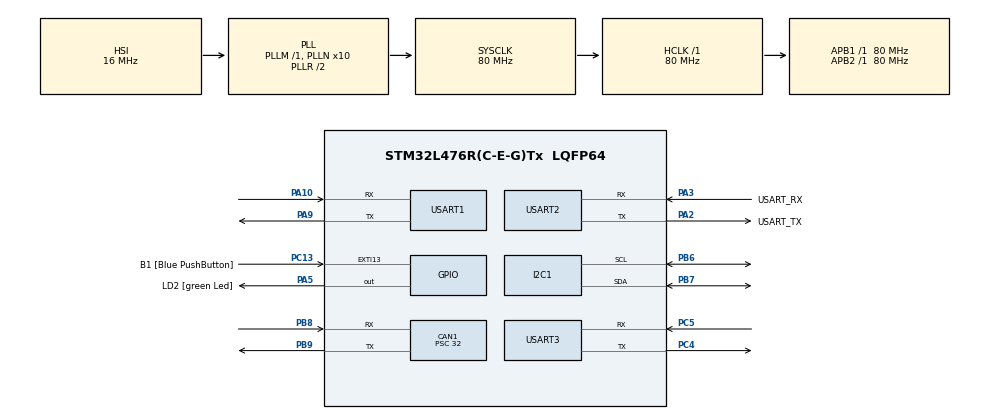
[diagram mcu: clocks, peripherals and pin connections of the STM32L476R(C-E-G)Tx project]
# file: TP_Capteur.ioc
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CAN1.BS1=CAN_BS1_3TQ
CAN1.CalculateBaudRate=500000
CAN1.CalculateTimeBit=2000.00
CAN1.CalculateTimeQuantum=400.0
CAN1.Prescaler=32
I2C1.Timing=0x10909CEC
Mcu.Family=STM32L4
Mcu.Name=STM32L476R(C-E-G)Tx
Mcu.Package=LQFP64
NVIC.PriorityGroup=NVIC_PRIORITYGROUP_4
NVIC.USART2_IRQn=true\:0\:0\:false\:false\:true\:true\:true
NVIC.USART3_IRQn=true\:0\:0\:false\:false\:true\:true\:true
PA10.Mode=Asynchronous
PA10.Signal=USART1_RX
PA13\ (JTMS-SWDIO).GPIO_Label=TMS
PA13\ (JTMS-SWDIO).Mode=Serial_Wire
PA13\ (JTMS-SWDIO).Signal=SYS_JTMS-SWDIO
PA14\ (JTCK-SWCLK).GPIO_Label=TCK
PA14\ (JTCK-SWCLK).Mode=Serial_Wire
PA14\ (JTCK-SWCLK).Signal=SYS_JTCK-SWCLK
PA2.GPIO_Label=USART_TX
PA2.GPIO_Mode=GPIO_MODE_AF_PP
PA2.GPIO_PuPd=GPIO_NOPULL
PA2.GPIO_Speed=GPIO_SPEED_FREQ_VERY_HIGH
PA2.Mode=Asynchronous
PA2.Signal=USART2_TX
PA3.GPIO_Label=USART_RX
PA3.GPIO_Mode=GPIO_MODE_AF_PP
PA3.GPIO_PuPd=GPIO_NOPULL
PA3.GPIO_Speed=GPIO_SPEED_FREQ_VERY_HIGH
PA3.Mode=Asynchronous
PA3.Signal=USART2_RX
PA5.GPIO_Label=LD2 [green Led]
PA5.GPIO_ModeDefaultOutputPP=GPIO_MODE_OUTPUT_PP
PA5.GPIO_PuPd=GPIO_NOPULL
PA5.GPIO_Speed=GPIO_SPEED_FREQ_LOW
PA5.Signal=GPIO_Output
PA9.Mode=Asynchronous
PA9.Signal=USART1_TX
PB3\ (JTDO-TRACESWO).GPIO_Label=SWO
PB3\ (JTDO-TRACESWO).Signal=SYS_JTDO-SWO
PB6.Mode=I2C
PB6.Signal=I2C1_SCL
PB7.Mode=I2C
PB7.Signal=I2C1_SDA
PB8.Mode=CAN_Activate
PB8.Signal=CAN1_RX
PB9.Mode=CAN_Activate
PB9.Signal=CAN1_TX
PC13.GPIO_Label=B1 [Blue PushButton]
PC13.GPIO_ModeDefaultEXTI=GPIO_MODE_IT_FALLING
PC13.GPIO_PuPd=GPIO_NOPULL
PC13.Signal=GPXTI13
PC14-OSC32_IN\ (PC14).Mode=LSE-External-Oscillator
PC14-OSC32_IN\ (PC14).Signal=RCC_OSC32_IN
PC15-OSC32_OUT\ (PC15).Mode=LSE-External-Oscillator
PC15-OSC32_OUT\ (PC15).Signal=RCC_OSC32_OUT
PC4.Mode=Asynchronous
PC4.Signal=USART3_TX
PC5.Mode=Asynchronous
PC5.Signal=USART3_RX
PH0-OSC_IN\ (PH0).Signal=RCC_OSC_IN
PH1-OSC_OUT\ (PH1).Signal=RCC_OSC_OUT
ProjectManager.HeapSize=0x200
ProjectManager.StackSize=0x400
ProjectManager.TargetToolchain=STM32CubeIDE
RCC.ADCFreq_Value=64000000
RCC.AHBFreq_Value=80000000
RCC.APB1Freq_Value=80000000
RCC.APB1TimFreq_Value=80000000
RCC.APB2Freq_Value=80000000
RCC.APB2TimFreq_Value=80000000
RCC.CortexFreq_Value=80000000
RCC.HCLKFreq_Value=80000000
RCC.HSE_VALUE=8000000
RCC.HSI_VALUE=16000000
RCC.MSI_VALUE=4000000
RCC.PLLN=10
RCC.PLLSourceVirtual=RCC_PLLSOURCE_HSI
RCC.PREFETCH_ENABLE=1
RCC.SYSCLKFreq_VALUE=80000000
RCC.SYSCLKSource=RCC_SYSCLKSOURCE_PLLCLK
RCC.USBFreq_Value=64000000
RCC.VCOOutputFreq_Value=160000000
USART1.VirtualMode-Asynchronous=VM_ASYNC
USART2.VirtualMode-Asynchronous=VM_ASYNC
USART3.VirtualMode-Asynchronous=VM_ASYNC
board=NUCLEO-L476RG

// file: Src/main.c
/* USER CODE BEGIN Header */
/**
 ******************************************************************************
 * @file           : main.c
 * @brief          : Main program body
 ******************************************************************************
 * @attention
 *
 * <h2><center>&copy; Copyright (c) 2021 STMicroelectronics.
 * All rights reserved.</center></h2>
 *
 * This software component is licensed by ST under BSD 3-Clause license,
 * the "License"; You may not use this file except in compliance with the
 * License. You may obtain a copy of the License at:
 *                        opensource.org/licenses/BSD-3-Clause
 *
 ******************************************************************************
 */
/* USER CODE END Header */
#include "main.h"
#include "can.h"
#include "i2c.h"
#include "usart.h"
#include "gpio.h"

/* USER CODE BEGIN Includes */
#include <stdio.h>
#include <string.h>
#include <stdlib.h>
#include "bmp280.h"
#include "request_RPi.h"
#include "motor.h"
/* USER CODE END Includes */

/* USER CODE BEGIN PV */

/* --- USART2 --- */
char msg[1];
int it_uart;

/* --- USART3 --- */
char msg_Pi[1];
int it_uart_Pi;
char buf_Pi[20];

/* USER CODE END PV */

void SystemClock_Config(void);

int main(void)
{

	/* MCU Configuration--------------------------------------------------------*/

	/* Reset of all peripherals, Initializes the Flash interface and the Systick. */
	HAL_Init();

	/* Configure the system clock */
	SystemClock_Config();

	/* Initialize all configured peripherals */
	MX_GPIO_Init();
	MX_USART2_UART_Init();
	MX_CAN1_Init();
	MX_USART1_UART_Init();
	MX_USART3_UART_Init();
	MX_I2C1_Init();
	/* USER CODE BEGIN 2 */

	/* --- USART2 --- */
	it_uart = 0;
	HAL_UART_Receive_IT(&huart2,(uint8_t*)msg,1);
	/* -------------- */

	/* --- USART3 --- */
	it_uart_Pi = 0;
	HAL_UART_Receive_IT(&huart3,(uint8_t*)msg_Pi,1);
	int cptr_buf_Pi = 0;
	for(int i=0; i<20; i++){
		buf_Pi[i] = 0;
	}
	/* -------------- */

	/* --- BMP280 --- */
	HAL_I2C_Init(&hi2c1);

	int32_t temp_S32;
	uint32_t press_U32;

	BMP280_check_ID();							// print the device ID : 0x58
	BMP280_init();								// configure the device : mode normal, etc.
	BMP280_calibration();						// print the calibration registers
	BMP280_init_trimmingParameters();			// get the trimming parameters : dig_T1, etc.

	printf("---------------- TEMPERATURE ----------------\r\n");
	temp_S32 = BMP280_getTemperature();
	printf("Temperature : %ld_C\r\n", temp_S32/100);
	printf("------------------ PRESSURE -----------------\r\n");
	press_U32 = BMP280_getPressure();
	printf("Pression : %ld Pa\r\n", press_U32);
	/* -------------- */

	/* ---- CAN ---- */
	MOTOR_init();
	K = 1;
	char buff_K[4];
	/* ------------- */

	/* USER CODE END 2 */

	/* Infinite loop */
	/* USER CODE BEGIN WHILE */
	while (1)
	{
				MOTOR_angle(temp_S32*K);
		//		HAL_Delay(500);
		//		MOTOR_angle(0);
		//		HAL_Delay(500);

		if(it_uart){
			if(msg[0] == '\r'){
				printf("\r\n");
			}else{
				HAL_UART_Transmit(&huart2, (uint8_t*)msg, 1, HAL_MAX_DELAY);
			}
			it_uart = 0;
		}
		if(it_uart_Pi){
			if(msg_Pi[0] == '\r'){
				buf_Pi[cptr_buf_Pi] = '\0';
				//printf("%s\r\n", buf_Pi);
				if(strcmp(buf_Pi, "GET_T") == 0){
					RPi_GET_T();
				}else if(strcmp(buf_Pi, "GET_P") == 0){
					RPi_GET_P();
				}else{
					// SETK=XXXX
					for(int i=0; i<4; i++){
						buff_K[i] = buf_Pi[i+5];
					}
					buf_Pi[5] = '\0';
					if(strcmp(buf_Pi,"SETK=") == 0){
						RPi_SET_K(atoi(buff_K));
					}
				}

				for(int i=0; i<cptr_buf_Pi+1; i++){
					buf_Pi[i] = 0;
				}
				cptr_buf_Pi = 0;
			}else{
				buf_Pi[cptr_buf_Pi] = msg_Pi[0];
				cptr_buf_Pi++;
			}
			it_uart_Pi = 0;
		}

		/* USER CODE END WHILE */

	}
}

void SystemClock_Config(void)
{
	RCC_OscInitTypeDef RCC_OscInitStruct = {0};
	RCC_ClkInitTypeDef RCC_ClkInitStruct = {0};

	/** Configure the main internal regulator output voltage
	 */
	if (HAL_PWREx_ControlVoltageScaling(PWR_REGULATOR_VOLTAGE_SCALE1) != HAL_OK)
	{
		Error_Handler();
	}
	/** Initializes the RCC Oscillators according to the specified parameters
	 * in the RCC_OscInitTypeDef structure.
	 */
	RCC_OscInitStruct.OscillatorType = RCC_OSCILLATORTYPE_HSI;
	RCC_OscInitStruct.HSIState = RCC_HSI_ON;
	RCC_OscInitStruct.HSICalibrationValue = RCC_HSICALIBRATION_DEFAULT;
	RCC_OscInitStruct.PLL.PLLState = RCC_PLL_ON;
	RCC_OscInitStruct.PLL.PLLSource = RCC_PLLSOURCE_HSI;
	RCC_OscInitStruct.PLL.PLLM = 1;
	RCC_OscInitStruct.PLL.PLLN = 10;
	RCC_OscInitStruct.PLL.PLLP = RCC_PLLP_DIV7;
	RCC_OscInitStruct.PLL.PLLQ = RCC_PLLQ_DIV2;
	RCC_OscInitStruct.PLL.PLLR = RCC_PLLR_DIV2;
	if (HAL_RCC_OscConfig(&RCC_OscInitStruct) != HAL_OK)
	{
		Error_Handler();
	}
	/** Initializes the CPU, AHB and APB buses clocks
	 */
	RCC_ClkInitStruct.ClockType = RCC_CLOCKTYPE_HCLK|RCC_CLOCKTYPE_SYSCLK
			|RCC_CLOCKTYPE_PCLK1|RCC_CLOCKTYPE_PCLK2;
	RCC_ClkInitStruct.SYSCLKSource = RCC_SYSCLKSOURCE_PLLCLK;
	RCC_ClkInitStruct.AHBCLKDivider = RCC_SYSCLK_DIV1;
	RCC_ClkInitStruct.APB1CLKDivider = RCC_HCLK_DIV1;
	RCC_ClkInitStruct.APB2CLKDivider = RCC_HCLK_DIV1;

	if (HAL_RCC_ClockConfig(&RCC_ClkInitStruct, FLASH_LATENCY_4) != HAL_OK)
	{
		Error_Handler();
	}
}

/* USER CODE BEGIN 4 */
void HAL_UART_RxCpltCallback(UART_HandleTypeDef *huart)
{
	if(huart->Instance == USART2){
		HAL_UART_Receive_IT(&huart2,(uint8_t*)msg,1);
		it_uart = 1;
	}else
		if(huart->Instance == USART3){
			HAL_UART_Receive_IT(&huart3,(uint8_t*)msg_Pi,1);
			it_uart_Pi = 1;
		}
}
/* USER CODE END 4 */

void Error_Handler(void)
{
	__disable_irq();
	while (1)
	{
	}
}

/************************ (C) COPYRIGHT STMicroelectronics *****END OF FILE****/
